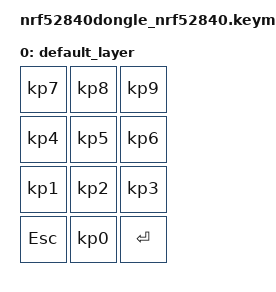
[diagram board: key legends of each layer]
#include <behaviors.dtsi>
#include <dt-bindings/zmk/keys.h>

/ {
    chosen {
        zmk,kscan = &kscan0;
    };

    kscan0: kscan_0 {
        compatible = "zmk,kscan-gpio-matrix";
        label = "KSCAN";
        diode-direction = "none";

        row-gpios
            = <&gpio0 13 (GPIO_ACTIVE_LOW | GPIO_PULL_UP)>  /* P0.13 - Rad 1 */
            , <&gpio0 15 (GPIO_ACTIVE_LOW | GPIO_PULL_UP)>  /* P0.15 - Rad 2 */
            , <&gpio0 17 (GPIO_ACTIVE_LOW | GPIO_PULL_UP)>  /* P0.17 - Rad 3 */
            , <&gpio0 20 (GPIO_ACTIVE_LOW | GPIO_PULL_UP)>  /* P0.20 - Rad 4 */
            ;

        col-gpios
            = <&gpio0 22 (GPIO_ACTIVE_LOW | GPIO_PULL_UP)>  /* P0.22 - Kolumn 1 */
            , <&gpio0 24 (GPIO_ACTIVE_LOW | GPIO_PULL_UP)>  /* P0.24 - Kolumn 2 */
            , <&gpio1  0 (GPIO_ACTIVE_LOW | GPIO_PULL_UP)>  /* P1.00 - Kolumn 3 */
            ;
    };

    keymap {
        compatible = "zmk,keymap";

        default_layer {
            bindings = <
                &kp KP_N7    &kp KP_N8    &kp KP_N9
                &kp KP_N4    &kp KP_N5    &kp KP_N6
                &kp KP_N1    &kp KP_N2    &kp KP_N3
                &kp ESC      &kp KP_N0    &kp ENTER
            >;
        };
    };
};
